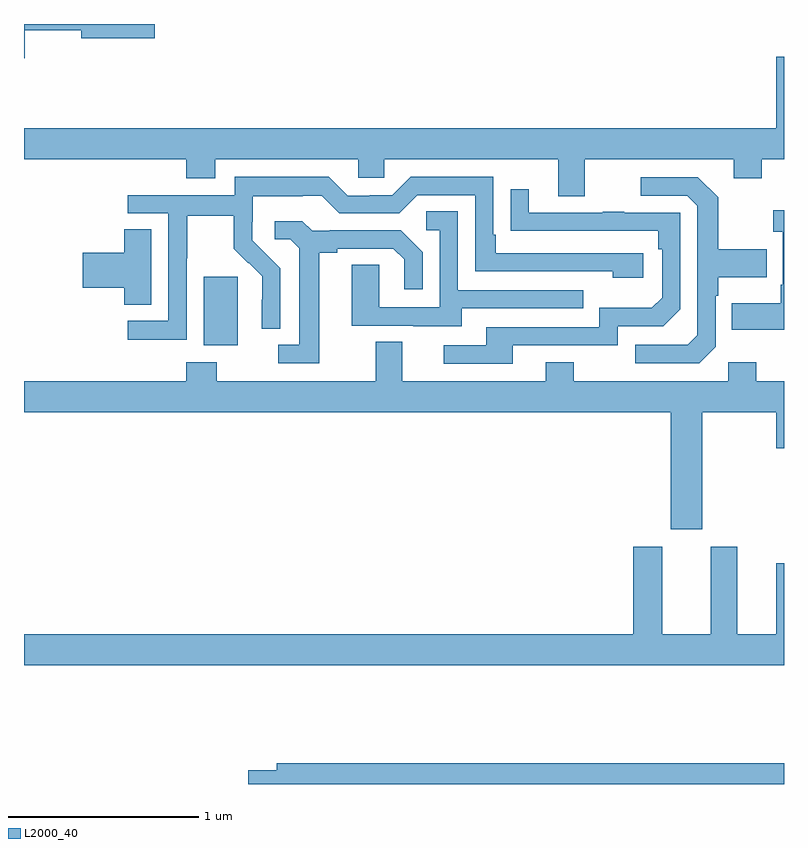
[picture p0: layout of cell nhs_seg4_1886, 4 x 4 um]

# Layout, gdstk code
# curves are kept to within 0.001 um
import gdstk
lib = gdstk.Library(unit=1e-6, precision=1e-09)
def R(c, l, rs):  # rectangles x0, y0, x1, y1
    for r in rs: c.add(gdstk.rectangle(r[:2], r[2:], *l))
def P(c, l, *ps):  # polygons
    for p in ps: c.add(gdstk.Polygon(p, *l))
L2000_40 = (2000, 40)

nhs_seg4_1886 = lib.new_cell('nhs_seg4_1886')
R(nhs_seg4_1886, L2000_40, [(209.945,761.21,210.124,761.571)])
P(nhs_seg4_1886, L2000_40, [(209.004,762.868),(209.3,762.868),(209.3,762.826),(209.689,762.826),(209.689,762.9),(209,762.9),(209,762.721),(209.004,762.721)],
  [(211.951,762.188),(212.735,762.188),(212.735,762.089),(212.883,762.089),(212.883,762.188),(213,762.188),(213,762.727),(212.96,762.727),(212.96,762.352),(209,762.352),(209,762.188),(209.855,762.188),(209.855,762.089),(210.007,762.089),(210.007,762.188),(210.759,762.188),(210.759,762.09),(210.897,762.09),(210.897,762.188),(211.811,762.188),(211.811,761.994),(211.951,761.994)],
  [(209.856,761.668),(209.859,761.668),(209.859,761.892),(210.103,761.892),(210.103,761.717),(210.18,761.64),(210.183,761.643),(210.254,761.573),(210.254,761.45),(210.252,761.45),(210.252,761.296),(210.348,761.296),(210.348,761.614),(210.202,761.762),(210.202,761.859),(210.204,761.859),(210.204,761.993),(210.467,761.993),(210.467,761.997),(210.567,761.997),(210.66,761.904),(210.975,761.904),(211.071,762),(211.374,762),(211.374,761.598),(212.099,761.598),(212.099,761.564),(212.26,761.564),(212.26,761.694),(211.483,761.694),(211.483,761.791),(211.47,761.791),(211.47,762.096),(211.035,762.096),(210.939,762),(210.821,762),(210.821,761.997),(210.705,761.997),(210.605,762.097),(210.108,762.097),(210.108,762),(209.547,762),(209.547,761.904),(209.76,761.904),(209.76,761.337),(209.547,761.337),(209.547,761.239),(209.856,761.239)],
  [(212.64,761.202),(212.64,761.471),(212.653,761.471),(212.653,761.567),(212.909,761.567),(212.909,761.715),(212.653,761.715),(212.653,761.987),(212.547,762.093),(212.247,762.093),(212.247,761.997),(212.49,761.997),(212.544,761.943),(212.544,761.262),(212.493,761.211),(212.217,761.211),(212.217,761.115),(212.553,761.115)],
  [(211.573,761.208),(212.124,761.208),(212.124,761.31),(212.364,761.31),(212.454,761.4),(212.454,761.907),(212.159,761.907),(212.159,761.912),(212.047,761.912),(212.047,761.907),(211.657,761.907),(211.657,762.031),(211.561,762.031),(211.561,761.812),(212.338,761.811),(212.338,761.714),(212.358,761.714),(212.358,761.46),(212.305,761.407),(212.028,761.407),(212.028,761.304),(211.433,761.304),(211.433,761.208),(211.209,761.208),(211.209,761.112),(211.573,761.112)],
  [(213,761.92),(212.943,761.92),(212.943,761.807),(212.994,761.807),(212.994,761.527),(212.982,761.527),(212.982,761.431),(212.725,761.431),(212.725,761.291),(213,761.291)],
  [(211.303,761.403),(211.943,761.403),(211.943,761.499),(211.284,761.499),(211.284,761.915),(211.116,761.915),(211.116,761.814),(211.188,761.814),(211.188,761.409),(210.87,761.409),(210.87,761.633),(210.725,761.633),(210.725,761.313),(211.049,761.313),(211.049,761.309),(211.303,761.309)],
  [(210.553,761.696),(210.649,761.696),(210.649,761.718),(210.944,761.718),(211.001,761.661),(211.001,761.505),(211.098,761.505),(211.098,761.698),(210.982,761.814),(210.61,761.814),(210.61,761.811),(210.516,761.811),(210.464,761.863),(210.321,761.863),(210.321,761.766),(210.402,761.766),(210.449,761.719),(210.449,761.211),(210.339,761.211),(210.339,761.115),(210.553,761.115)],
  [(209.671,761.819),(209.528,761.819),(209.528,761.696),(209.31,761.696),(209.31,761.513),(209.528,761.513),(209.528,761.422),(209.671,761.422)],
  [(212.569,760.856),(212.96,760.856),(212.96,760.668),(213,760.668),(213,761.02),(212.853,761.02),(212.853,761.119),(212.706,761.119),(212.706,761.02),(211.893,761.02),(211.893,761.119),(211.745,761.119),(211.745,761.02),(210.991,761.02),(210.991,761.228),(210.851,761.228),(210.851,761.02),(210.015,761.02),(210.015,761.119),(209.855,761.119),(209.855,761.02),(209,761.02),(209,760.856),(212.405,760.856),(212.405,760.242),(212.569,760.242)],
  [(213,760.063),(212.96,760.063),(212.96,759.688),(212.755,759.688),(212.755,760.15),(212.615,760.15),(212.615,759.688),(212.359,759.688),(212.359,760.15),(212.207,760.15),(212.207,759.688),(209,759.688),(209,759.524),(213,759.524)],
  [(213,759.008),(210.329,759.008),(210.329,758.972),(210.18,758.972),(210.18,758.9),(213,758.9)])

lib.write_gds('nhs_seg4_1886.gds')
